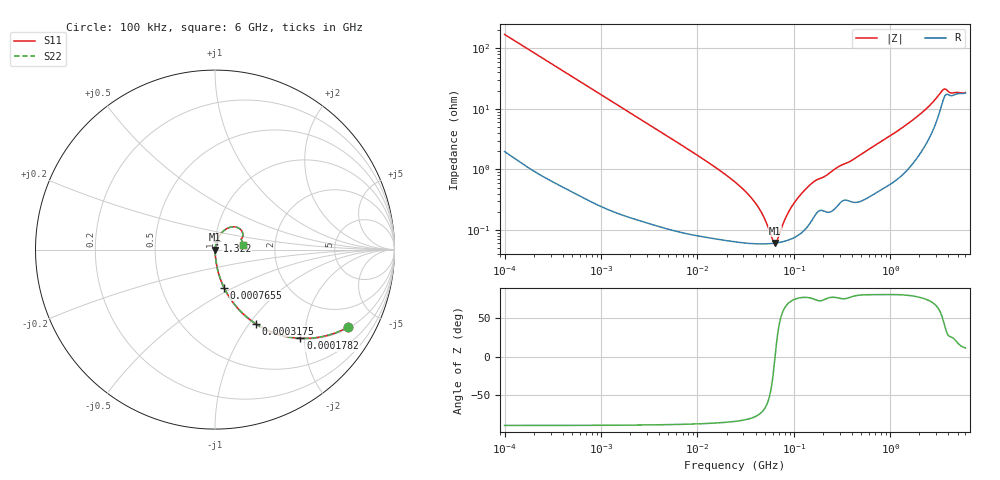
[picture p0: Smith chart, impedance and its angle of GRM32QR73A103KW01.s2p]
!Murata Part Number: GRM32QR73A103KW01
!These Parameters are Measured in Series Mode Connection
!Data Generated on Mar 30, 2021
!  o--ll--o
!Port1  Port2
!  o------o
!Operation Temp=25[degC], DC Bias Voltage=0[V]
!Freq. Start=100[kHz] Stop=6[GHz] 401[Steps]
# Hz S RI R 50
!Freq.(Hz) S11(Real) S11(Imag) S21(Real) S21(Imag) S12(Real) S12(Imag) S22(Real) S22(Imag)
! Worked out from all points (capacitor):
!   401 points, 100 kHz to 6 GHz, reference 50 ohm
!   read as one part in series: C = 9.39 nF near 105.7 kHz
!   lowest |Z| = 61 mohm at 64.15 MHz (marker M1)
!   series resonance near 63.77 MHz, so ESL is about 660 pH
!   S11 on the Smith chart (normalised r, x): 100 kHz: 1.04, -3.38; 178.2 kHz: 1.02, -1.91; 317.5 kHz: 1.01, -1.07; 765.5 kHz: 1.01, -0.45; 1.322 GHz: 1.02, +0.10; 6 GHz: 1.37, +0.07
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100000  0.7385 -0.4337  0.2615 0.4337  0.2615 0.4337  0.7385 -0.4337
178178  0.4762 -0.4939  0.5238 0.4939  0.5238 0.4939  0.4762 -0.4939
317472  0.2262 -0.4127  0.7738 0.4127  0.7738 0.4127  0.2262 -0.4127
631452  0.0712 -0.2509  0.9288 0.2509  0.9288 0.2509  0.0712 -0.2509
765523  0.0503 -0.212  0.9497 0.212  0.9497 0.212  0.0503 -0.212
1608730  0.013 -0.1054  0.987 0.1054  0.987 0.1054  0.013 -0.1054
3987316  0.00301 -0.0432  0.997 0.0432  0.997 0.0432  0.00301 -0.0432
2.517799e7  0.00067 -0.00594  0.9993 0.00594  0.9993 0.00594  0.00067 -0.00594
4.130835e7  0.000598 -0.00251  0.9994 0.00251  0.9994 0.00251  0.000598 -0.00251
4.872031e7  0.000592 -0.00153  0.9994 0.00153  0.9994 0.00153  0.000592 -0.00153
6.07118e7  0.000603 -0.000277  0.9994 0.000277  0.9994 0.000277  0.000603 -0.000277
6.414516e7  0.000609 3.32e-05  0.9994 -3.32e-05  0.9994 -3.32e-05  0.000609 3.32e-05
6.777267e7  0.000617 0.000344  0.9994 -0.000344  0.9994 -0.000344  0.000617 0.000344
7.993314e7  0.000654 0.00129  0.9993 -0.00129  0.9993 -0.00129  0.000654 0.00129
9.427557e7  0.000719 0.00229  0.9993 -0.00229  0.9993 -0.00229  0.000719 0.00229
1.174795e8  0.00089 0.00374  0.9991 -0.00374  0.9991 -0.00374  0.00089 0.00374
1.546735e8  0.0015 0.00579  0.9985 -0.00579  0.9985 -0.00579  0.0015 0.00579
9.76689e8  0.00671 0.0343  0.9933 -0.0343  0.9933 -0.0343  0.00671 0.0343
1.321769e9  0.0102 0.0471  0.9898 -0.0471  0.9898 -0.0471  0.0102 0.0471
2.55767e9  0.0434 0.1004  0.9566 -0.1004  0.9566 -0.1004  0.0434 0.1004
3.461335e9  0.1293 0.1213  0.8707 -0.1213  0.8707 -0.1213  0.1293 0.1213
6e9  0.1554 0.0262  0.8446 -0.0262  0.8446 -0.0262  0.1554 0.0262
